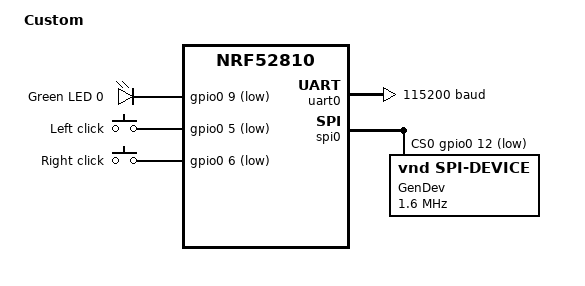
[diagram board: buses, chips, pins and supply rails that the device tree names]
/*
 * Copyright (c) 2017 Linaro Limited
 *
 * SPDX-License-Identifier: Apache-2.0
 */

/dts-v1/;
#include <nordic/nrf52810_qfaa.dtsi>
#include <nordic/nrf52840_partition.dtsi>
#include "custom_plank-pinctrl.dtsi"

/ {
	model = "Custom";
	compatible = "nordic,nRF52810";

	chosen {
		zephyr,console = &uart0;
	};

	leds {
		compatible = "gpio-leds";
		led0: led_0 {
			gpios = <&gpio0 9 GPIO_ACTIVE_LOW>;
			label = "Green LED 0";
		};

	};

	buttons {
		compatible = "gpio-keys";
		button0: button_0 {
			gpios = <&gpio0 5 (GPIO_PULL_UP | GPIO_ACTIVE_LOW)>;
			label = "Left click";
			zephyr,code = <INPUT_KEY_0>;
		};
                button1: button_1 {
			gpios = <&gpio0 6 (GPIO_PULL_UP | GPIO_ACTIVE_LOW)>;
			label = "Right click";
			zephyr,code = <INPUT_KEY_0>;
		};

	};



	/* These aliases are provided for compatibility with samples */
	aliases {
		led0 = &led0;
		left = &button0;
                right = &button1;
	};
};

&uicr {
	gpio-as-nreset;
};

&gpiote {
	status = "okay";
};

&gpio0 {
	status = "okay";
};


&uart0 {
	compatible = "nordic,nrf-uarte";
	status = "okay";
	current-speed = <115200>;
	pinctrl-0 = <&uart0_default>;
	pinctrl-names = "default";
};

&spi0 {
        compatible = "nordic,nrf-spi";
        status = "okay";
        cs-gpios = <&gpio0 12 GPIO_ACTIVE_LOW>;
        pinctrl-0 = <&spi0_default>;
        pinctrl-names = "default";
        gendev: gendev@0 {
                compatible = "vnd,spi-device";
                reg = <0>;
                spi-max-frequency = <1600000>;
                label = "GenDev";
        };
};



